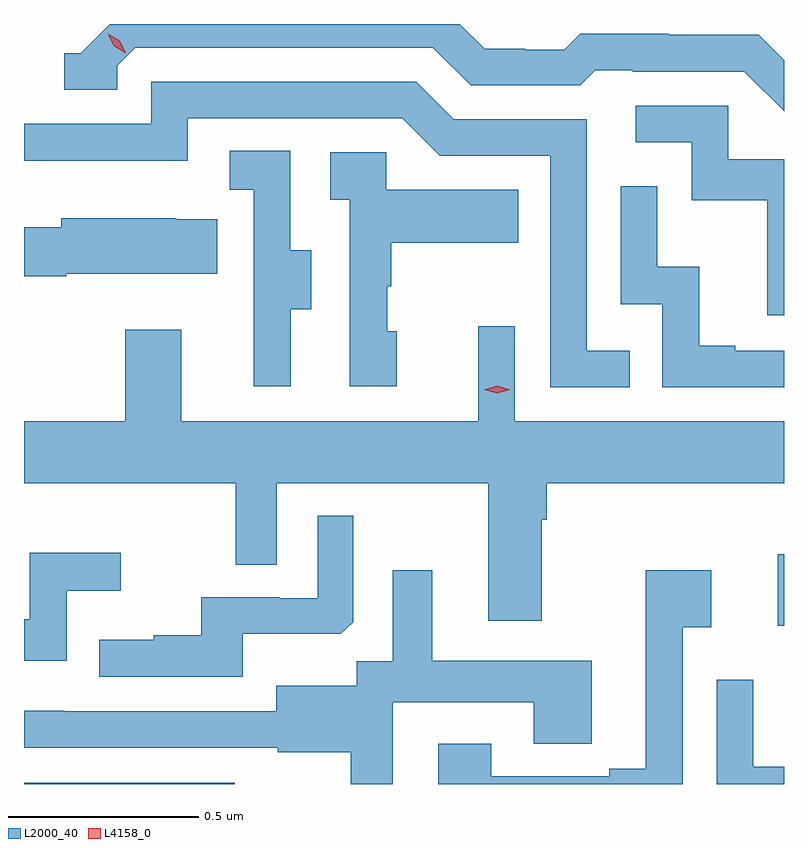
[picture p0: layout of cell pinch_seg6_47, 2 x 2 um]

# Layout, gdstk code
import gdstk
lib = gdstk.Library(unit=1e-6, precision=1e-09)
def R(c, l, rs):  # rectangles x0, y0, x1, y1
    for r in rs: c.add(gdstk.rectangle(r[:2], r[2:], *l))
def P(c, l, *ps):  # polygons
    for p in ps: c.add(gdstk.Polygon(p, *l))
L2000_40 = (2000, 40)
L4158_0 = (4158, 0)

pinch_seg6_47 = lib.new_cell('pinch_seg6_47')
R(pinch_seg6_47, L2000_40, [(993.619,938.553,994.174,938.556), (995.603,938.97,995.619,939.158)])
P(pinch_seg6_47, L2000_40, [(995.619,940.458),(995.552,940.525),(995.316,940.525),(995.316,940.528),(995.083,940.528),(995.041,940.485),(994.938,940.485),(994.938,940.488),(994.831,940.488),(994.766,940.553),(993.845,940.553),(993.768,940.476),(993.725,940.476),(993.725,940.38),(993.864,940.38),(993.864,940.443),(993.912,940.491),(994.695,940.491),(994.794,940.392),(995.083,940.392),(995.122,940.431),(995.221,940.431),(995.221,940.428),(995.514,940.428),(995.619,940.323)],
  [(995.213,939.693),(995.1,939.693),(995.1,940.302),(994.75,940.302),(994.651,940.401),(993.954,940.401),(993.954,940.29),(993.619,940.29),(993.619,940.193),(994.05,940.193),(994.05,940.305),(994.614,940.305),(994.713,940.206),(995.004,940.206),(995.004,939.597),(995.213,939.597)],
  [(995.619,940.197),(995.472,940.197),(995.472,940.338),(995.229,940.338),(995.229,940.242),(995.376,940.242),(995.376,940.089),(995.575,940.089),(995.575,939.786),(995.619,939.786)],
  [(994.321,939.802),(994.375,939.802),(994.375,939.957),(994.32,939.957),(994.32,940.22),(994.161,940.22),(994.161,940.117),(994.224,940.117),(994.224,939.813),(994.223,939.813),(994.223,939.6),(994.321,939.6)],
  [(994.6,939.744),(994.575,939.744),(994.575,939.863),(994.585,939.863),(994.585,939.977),(994.919,939.977),(994.919,940.117),(994.572,940.117),(994.572,940.215),(994.425,940.215),(994.425,940.091),(994.476,940.091),(994.476,939.6),(994.6,939.6)],
  [(995.619,939.693),(995.491,939.693),(995.491,939.706),(995.396,939.706),(995.396,939.914),(995.286,939.914),(995.286,940.126),(995.19,940.126),(995.19,939.816),(995.298,939.816),(995.298,939.597),(995.619,939.597)],
  [(993.73,939.896),(994.127,939.896),(994.127,940.039),(994.019,940.039),(994.019,940.042),(993.717,940.042),(993.717,940.018),(993.619,940.018),(993.619,939.889),(993.73,939.889)],
  [(994.911,939.757),(994.814,939.757),(994.814,939.508),(994.033,939.508),(994.033,939.748),(993.886,939.748),(993.886,939.508),(993.619,939.508),(993.619,939.344),(994.176,939.344),(994.176,939.13),(994.284,939.13),(994.284,939.344),(994.841,939.344),(994.841,938.982),(994.981,938.982),(994.981,939.248),(994.994,939.248),(994.994,939.344),(995.619,939.344),(995.619,939.508),(994.911,939.508)],
  [(994.195,938.948),(994.453,938.948),(994.485,938.979),(994.485,939.259),(994.392,939.259),(994.392,939.042),(994.292,939.042),(994.292,939.045),(994.085,939.045),(994.085,938.944),(993.961,938.944),(993.961,938.932),(993.817,938.932),(993.817,938.835),(994.195,938.835)],
  [(993.732,939.062),(993.874,939.062),(993.874,939.161),(993.634,939.161),(993.634,938.986),(993.619,938.986),(993.619,938.877),(993.732,938.877)],
  [(995.352,938.966),(995.428,938.966),(995.428,939.115),(995.255,939.115),(995.255,938.593),(995.159,938.593),(995.159,938.574),(994.849,938.574),(994.849,938.659),(994.709,938.659),(994.709,938.553),(995.352,938.553)],
  [(994.59,938.768),(994.961,938.768),(994.961,938.659),(995.113,938.659),(995.113,938.878),(994.693,938.878),(994.693,939.115),(994.589,939.115),(994.589,938.876),(994.494,938.876),(994.494,938.812),(994.283,938.812),(994.283,938.745),(993.725,938.745),(993.725,938.746),(993.619,938.746),(993.619,938.649),(994.287,938.649),(994.287,938.637),(994.479,938.637),(994.479,938.553),(994.59,938.553)],
  [(995.619,938.598),(995.538,938.598),(995.538,938.827),(995.442,938.827),(995.442,938.553),(995.619,938.553)])
P(pinch_seg6_47, L4158_0, [(994.864,939.581),(994.829,939.591),(994.829,939.591),(994.829,939.591),(994.864,939.601),(994.899,939.591),(994.899,939.591),(994.899,939.591)],
  [(993.887,940.476),(993.856,940.495),(993.84,940.528),(993.84,940.528),(993.84,940.528),(993.871,940.509),(993.887,940.476),(993.887,940.476)])

lib.write_gds('pinch_seg6_47.gds')
